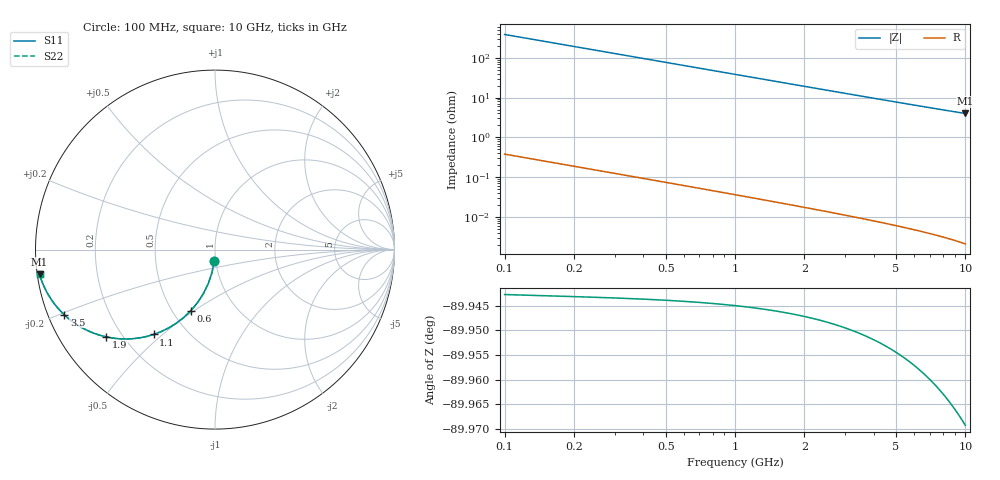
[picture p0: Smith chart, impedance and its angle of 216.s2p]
# Hz S RI R 50.00
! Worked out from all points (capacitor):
!   100 points, 100 MHz to 10 GHz, reference 50 ohm
!   read as one part in shunt: C = 4.17 pF near 100 MHz
!   lowest |Z| = 3.99 ohm at 10 GHz (marker M1)
!   S11 on the Smith chart (normalised r, x): 100 MHz: 0.98, -0.13; 600 MHz: 0.62, -0.48; 1.1 GHz: 0.33, -0.47; 1.9 GHz: 0.14, -0.34; 3.5 GHz: 0.05, -0.21; 10 GHz: 0.01, -0.07
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1e8  -0.00425 -0.0651  0.9956 -0.0653  0.9956 -0.0653  -0.00425 -0.0651
2e8  -0.0169 -0.1285  0.9829 -0.1289  0.9829 -0.1289  -0.0169 -0.1285
3e8  -0.0372 -0.1888  0.9626 -0.1893  0.9626 -0.1893  -0.0372 -0.1888
4e8  -0.0643 -0.2446  0.9355 -0.2453  0.9355 -0.2453  -0.0643 -0.2446
5e8  -0.0969 -0.295  0.9029 -0.2959  0.9029 -0.2959  -0.0969 -0.295
6e8  -0.1338 -0.3395  0.866 -0.3406  0.866 -0.3406  -0.1338 -0.3395
8e8  -0.2154 -0.4099  0.7844 -0.4114  0.7844 -0.4114  -0.2154 -0.4099
9e8  -0.2579 -0.4362  0.742 -0.4378  0.742 -0.4378  -0.2579 -0.4362
1.1e9  -0.3416 -0.4728  0.6582 -0.4748  0.6582 -0.4748  -0.3416 -0.4728
1.4e9  -0.4566 -0.4963  0.5432 -0.4989  0.5432 -0.4989  -0.4566 -0.4963
1.8e9  -0.5814 -0.4912  0.4185 -0.4944  0.4185 -0.4944  -0.5814 -0.4912
1.9e9  -0.6074 -0.4861  0.3924 -0.4895  0.3924 -0.4895  -0.6074 -0.4861
2.2e9  -0.6747 -0.4659  0.3251 -0.4699  0.3251 -0.4699  -0.6747 -0.4659
2.6e9  -0.7434 -0.4338  0.2564 -0.4385  0.2564 -0.4385  -0.7434 -0.4338
3e9  -0.7942 -0.401  0.2057 -0.4065  0.2057 -0.4065  -0.7942 -0.401
3.4e9  -0.8321 -0.37  0.1677 -0.3762  0.1677 -0.3762  -0.8321 -0.37
3.5e9  -0.8401 -0.3627  0.1597 -0.3691  0.1597 -0.3691  -0.8401 -0.3627
4.2e9  -0.8833 -0.3165  0.1165 -0.3242  0.1165 -0.3242  -0.8833 -0.3165
5.1e9  -0.9179 -0.2692  0.0819 -0.2785  0.0819 -0.2785  -0.9179 -0.2692
6.7e9  -0.9509 -0.2091  0.0489 -0.2214  0.0489 -0.2214  -0.9509 -0.2091
8.4e9  -0.9683 -0.1663  0.0314 -0.1819  0.0314 -0.1819  -0.9683 -0.1663
1e10  -0.9776 -0.1375  0.0221 -0.1562  0.0221 -0.1562  -0.9776 -0.1375
